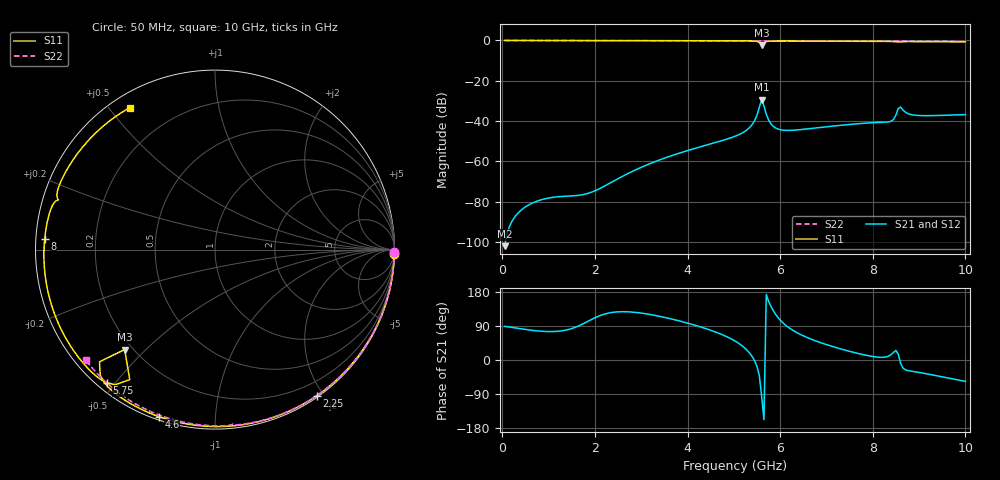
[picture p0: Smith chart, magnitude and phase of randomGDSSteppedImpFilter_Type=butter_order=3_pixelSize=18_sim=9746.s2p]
! freq	dB(S11)	phase(S11)	dB(S12)	phase(S12)
!  dB(S21)	phase(S21)	dB(S22)	phase(S22)
!S-par simulation data
#  GHz  S  DB  R 50
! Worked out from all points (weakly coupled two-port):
!   200 points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, 50 MHz to 10 GHz, reference 50 ohm
!   highest |S21| = -29.28 dB at 5.6 GHz (marker M1); lowest = -102.0 dB at 50 MHz (marker M2)
!   lowest |S11| = -2.5 dB at 5.6 GHz (marker M3), VSWR 7.02, Z = 8.5 - j21.7 ohm
!   |S11| at or under -10 dB: nowhere
!   |S22| runs from -0.5 to 0.0 dB; largest |S21 - S12| = 0
!   S11 on the Smith chart (normalised r, x): 50 MHz: 0, -91; 2.25 GHz: 0.02, -1.91; 4.6 GHz: 0.01, -0.72; 5.75 GHz: 0.03, -0.48; 8 GHz: 0.03, +0.03; 10 GHz: 0.05, +0.56
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0.05  -0.00 -1.3  -101.97 88.7  -101.97 88.7  -0.00 -0.8
0.7  -0.02 -17.6  -80.09 77.4  -80.09 77.4  -0.01 -11.3
1.75  -0.05 -43.3  -76.38 95.9  -76.38 95.9  -0.04 -27.9
2.25  -0.07 -55.2  -71.66 122.6  -71.66 122.6  -0.05 -35.7
3.4  -0.11 -81.8  -59.18 115.2  -59.18 115.2  -0.07 -53.0
4.6  -0.16 -108.6  -50.61 74.0  -50.61 74.0  -0.10 -70.4
5.05  -0.19 -118.8  -47.27 48.3  -47.27 48.3  -0.12 -76.7
5.4  -0.27 -128.1  -41.54 8.3  -41.54 8.3  -0.13 -81.5
5.55  -0.94 -135.8  -33.16 -41.3  -33.16 -41.3  -0.16 -83.7
5.6  -2.49 -132.1  -29.28 -95.4  -29.28 -95.4  -0.20 -84.2
5.65  -1.25 -123.3  -32.33 -157.5  -32.33 -157.5  -0.17 -84.6
5.75  -0.40 -129.0  -39.42 155.1  -39.42 155.1  -0.15 -86.0
5.85  -0.30 -132.6  -42.53 130.5  -42.53 130.5  -0.15 -87.4
6  -0.27 -136.7  -44.23 105.6  -44.23 105.6  -0.16 -89.4
6.7  -0.31 -153.0  -43.55 53.5  -43.55 53.5  -0.19 -98.6
8  -0.44 176.4  -40.78 9.3  -40.78 9.3  -0.28 -115.1
8.35  -0.50 167.4  -40.33 10.6  -40.33 10.6  -0.31 -119.5
8.45  -0.56 164.5  -39.09 20.6  -39.09 20.6  -0.32 -120.7
8.55  -0.77 162.4  -33.74 15.4  -33.74 15.4  -0.36 -122.0
8.6  -0.72 162.3  -33.07 -8.2  -33.07 -8.2  -0.37 -122.4
8.9  -0.55 153.7  -37.03 -30.8  -37.03 -30.8  -0.36 -126.0
10  -0.70 121.0  -36.75 -56.5  -36.75 -56.5  -0.48 -139.4
